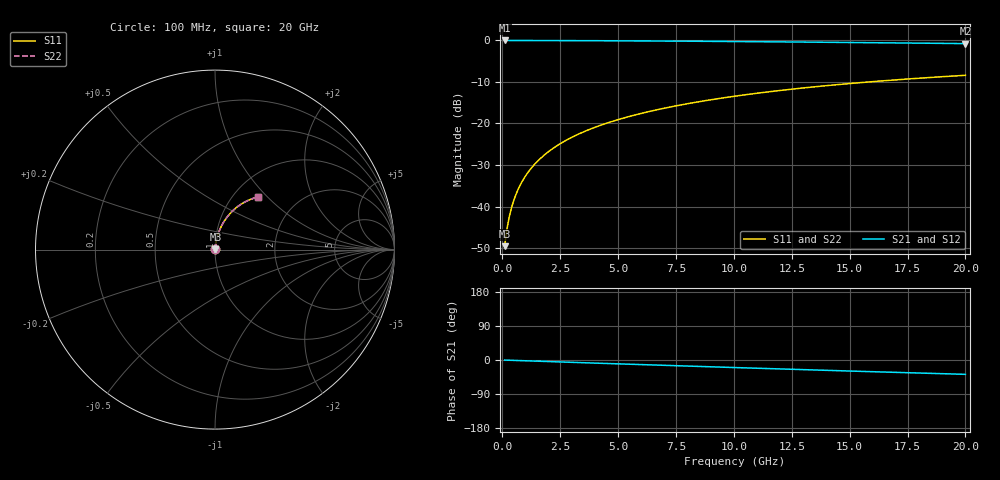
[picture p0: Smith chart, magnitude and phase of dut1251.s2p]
! Touchstone file exported from HFSS 2026.1.0
!  File:  C:/ffzhzh/LocalFiles/Ansys_Project_Files/temp_train_BSMRDL_1251_1783177336_22436.aedt
!  Generated:  11:03:31 PM Jul  4, 2026
!  Design:  BSMRDL
!  Project:  temp_train_BSMRDL_1251_1783177336_22436
! Variables:
!  h_bsmrdl = 5.92um
!  h_ox = 20um
!  h_rdl = 5um
!  h_sub = 80um
!  h_tmrdl = 5um
!  h_tsv = 80um
!  h_via = 3um
!  l_bsmrdl = 538.24um
!  l_sub = 938.24um
!  l_tmrdl = 200um
!  m_sub = 200um
!  pitch = 43.79um
!  r_tsv = 6um
!  s_tmrdl = 10um
!  w_bsmrdl = 14.53um
!  w_sub = 500um
!  w_tmrdl = 12um
!  x_tsv_center1 = 206um
!  x_tsv_center2 = 758.77um
!  x_tsv_center3 = 970.77um
!  x_tsv_center4 = 1523.54um
!  x_tsv_center5 = 1735.54um
!  x_tsv_center6 = 2288.31um
# GHz S MA R 50.000000
! Terminal data exported
! Port[1] = BSM_RDL1_1_T1
! Port[2] = BSM_RDL1_1_T2
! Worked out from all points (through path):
!   200 points, 100 MHz to 20 GHz, reference 50 ohm
!   highest |S21| = -0.02 dB at 100 MHz (marker M1); lowest = -0.8 dB at 20 GHz (marker M2)
!   group delay of S21, straight-line fit = 5.26 ps
!   lowest |S11| = -49.5 dB at 100 MHz (marker M3), VSWR 1.01, Z = 50.2 + j0.242 ohm
!   |S11| at or under -10 dB: start of sweep to 15.84 GHz
!   |S22| runs from -49.5 to -8.4 dB; largest |S21 - S12| = 3.5e-15
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0.1  0.003335 46.2  0.9977 -0.2  0.9977 -0.2  0.003335 46.2
! Gamma 0 0 0 0
! Port Impedance 50 0 50 0
0.2  0.005336 63.0  0.9976 -0.4  0.9976 -0.4  0.005336 63.0
0.3  0.007503 70.2  0.9975 -0.6  0.9975 -0.6  0.007503 70.2
0.4  0.009714 74.1  0.9974 -0.8  0.9974 -0.8  0.009714 74.1
0.5  0.01195 76.5  0.9974 -1.0  0.9974 -1.0  0.01195 76.5
0.6  0.0142 78.1  0.9973 -1.3  0.9973 -1.3  0.0142 78.1
0.8  0.01872 80.0  0.9971 -1.7  0.9971 -1.7  0.01872 80.0
1.1  0.02553 81.3  0.9968 -2.3  0.9968 -2.3  0.02553 81.3
1.5  0.0346 81.8  0.9963 -3.1  0.9963 -3.1  0.0346 81.8
1.8  0.04137 81.7  0.9959 -3.7  0.9959 -3.7  0.04137 81.7
2.1  0.04811 81.5  0.9953 -4.3  0.9953 -4.3  0.04811 81.5
2.7  0.06147 80.7  0.9941 -5.6  0.9941 -5.6  0.06147 80.7
3.5  0.07902 79.5  0.9923 -7.2  0.9923 -7.2  0.07902 79.5
4.2  0.09415 78.3  0.9904 -8.6  0.9904 -8.6  0.09415 78.3
5  0.1112 76.9  0.9881 -10.2  0.9881 -10.2  0.1112 76.9
5.9  0.13 75.2  0.9852 -12.0  0.9852 -12.0  0.13 75.2
6.8  0.1486 73.6  0.982 -13.7  0.982 -13.7  0.1486 73.6
8.3  0.1789 70.9  0.9763 -16.6  0.9763 -16.6  0.1789 70.9
10.1  0.214 67.7  0.9685 -20.1  0.9685 -20.1  0.214 67.7
13.4  0.2747 61.8  0.9522 -26.2  0.9522 -26.2  0.2747 61.8
16.7  0.3301 56.1  0.9338 -32.2  0.9338 -32.2  0.3301 56.1
20  0.3799 50.6  0.9144 -37.8  0.9144 -37.8  0.3799 50.6
